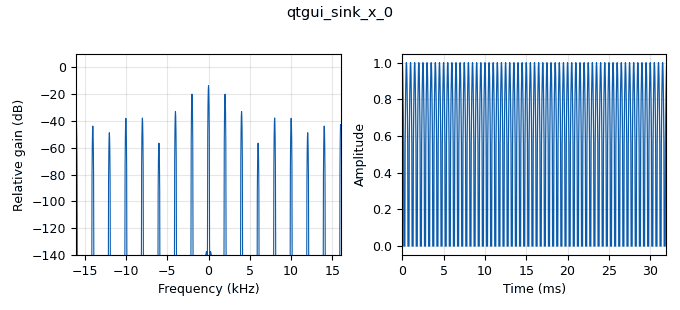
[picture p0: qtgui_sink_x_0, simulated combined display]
<?xml version='1.0' encoding='utf-8'?>
<?grc format='1' created='3.7.9'?>
<flow_graph>
<block>
<key>options</key>
<param><key>id</key><value>rectifier</value></param>
<param><key>generate_options</key><value>qt_gui</value></param>
<param><key>title</key><value>rectifier</value></param>
</block>
<block>
<key>variable</key>
<param><key>id</key><value>samp_rate</value></param>
<param><key>value</key><value>32000</value></param>
</block>
<block>
<key>analog_sig_source_x</key>
<param><key>id</key><value>analog_sig_source_x_0</value></param>
<param><key>amp</key><value>1</value></param>
<param><key>freq</key><value>1000</value></param>
<param><key>offset</key><value>0</value></param>
<param><key>type</key><value>float</value></param>
<param><key>samp_rate</key><value>samp_rate</value></param>
<param><key>waveform</key><value>analog.GR_COS_WAVE</value></param>
</block>
<block>
<key>blocks_throttle</key>
<param><key>id</key><value>blocks_throttle_0</value></param>
<param><key>samples_per_second</key><value>samp_rate</value></param>
<param><key>type</key><value>float</value></param>
</block>
<block>
<key>qtgui_sink_x</key>
<param><key>id</key><value>qtgui_sink_x_0</value></param>
<param><key>bw</key><value>samp_rate</value></param>
<param><key>fc</key><value>0</value></param>
<param><key>freqchangevar</key><value>None</value></param>
<param><key>fftsize</key><value>1024</value></param>
<param><key>showports</key><value>True</value></param>
<param><key>type</key><value>float</value></param>
<param><key>rate</key><value>1000</value></param>
<param><key>wintype</key><value>firdes.WIN_BLACKMAN_hARRIS</value></param>
</block>
<block>
<key>epy_block</key>
<param><key>id</key><value>sample</value></param>
<param><key>_source_code</key><value>"""
Embedded Python Blocks:

Each time this file is saved, GRC will instantiate the first class it finds
to get ports and parameters of your block. The arguments to __init__  will
be the parameters. All of them are required to have default values!
"""

import numpy as np
from gnuradio import gr


class blk(gr.sync_block):  # other base classes are basic_block, decim_block, interp_block
    """Embedded Python Block example - a simple multiply const"""

    def __init__(self, gain=1.0, threshold=0.0):  # only default arguments here
        """arguments to this function show up as parameters in GRC"""
        gr.sync_block.__init__(
            self,
            name='Rectifier',   # will show up in GRC
            in_sig=[np.float32],
            out_sig=[np.float32]
        )
        self.gain = gain
        self.threshold = threshold

    def work(self, input_items, output_items):
        for i in range(0, len(input_items[0])):
            if input_items[0][i] &gt;= self.threshold:
                output_items[0][i]  = input_items[0][i] * self.gain
            else:
                if input_items[0][i] &lt;= -1*self.threshold:
                    output_items[0][i] = -1*input_items[0][i] * self.gain
        return len(output_items[0])
</value></param>
<param><key>gain</key><value>1</value></param>
<param><key>threshold</key><value>0.5</value></param>
</block>
<connection><source_block_id>analog_sig_source_x_0</source_block_id><sink_block_id>blocks_throttle_0</sink_block_id><source_key>0</source_key><sink_key>0</sink_key></connection>
<connection><source_block_id>blocks_throttle_0</source_block_id><sink_block_id>sample</sink_block_id><source_key>0</source_key><sink_key>0</sink_key></connection>
<connection><source_block_id>sample</source_block_id><sink_block_id>qtgui_sink_x_0</sink_block_id><source_key>0</source_key><sink_key>0</sink_key></connection>
</flow_graph>
